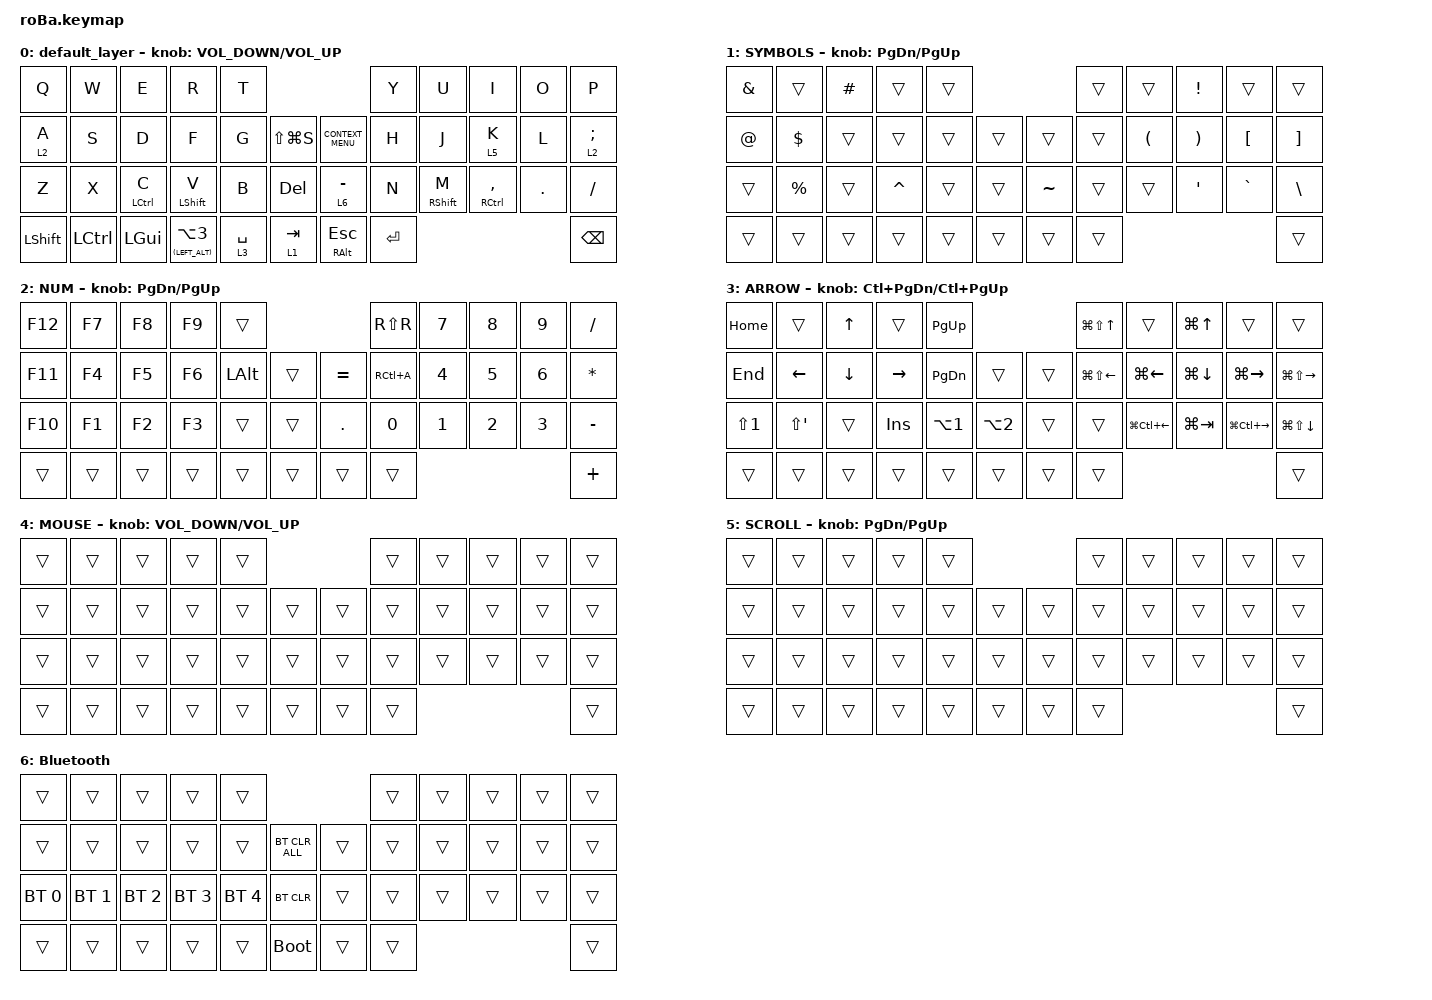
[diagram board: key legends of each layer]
// #include <behaviors/rgbled_widget.dtsi>

#include <behaviors.dtsi>
#include <dt-bindings/zmk/bt.h>
#include <dt-bindings/zmk/keys.h>
#include <dt-bindings/zmk/pointing.h>

&mt {
    flavor = "balanced";
    quick-tap-ms = <0>;
};

&trackball {
    // automouse-layer = <4>;

    scroll-layers = <5>;

    // arrows {
    //     layers = <3>;
    //     bindings =
    //         <&kp RIGHT_ARROW>,
    //         <&kp LEFT_ARROW>,
    //         <&kp UP_ARROW>,
    //         <&kp DOWN_ARROW>;
    //     tick = <10>;
    //     wait-ms = <5>;
    //     tap-ms = <5>;
    // };
};

/ {
    combos {
        compatible = "zmk,combos";

        CapsLock {
            bindings = <&kp LS(CAPSLOCK)>;
            key-positions = <10 21>;
        };

        IME_ON {
            bindings = <&kp INT_HENKAN>;
            key-positions = <30 31>;
        };

        IME_OFF {
            bindings = <&kp INT_MUHENKAN>;
            key-positions = <24 25>;
        };

        PrintScreen {
            bindings = <&kp PRINTSCREEN>;
            key-positions = <6 7>;
        };

        left_click {
            bindings = <&mkp MB1>;
            key-positions = <18 19>;
        };

        right_click {
            bindings = <&mkp MB2>;
            key-positions = <19 20>;
        };

        middle_click {
            bindings = <&mkp MB3>;
            key-positions = <18 19 20>;
        };

        mouse_click_5 {
            bindings = <&mkp MB5>;
            key-positions = <17 18>;
        };

        mouse_click_4 {
            bindings = <&mkp MB4>;
            key-positions = <29 30>;
        };

        View_Depth_1000 {
            bindings = <&View_Depth_1000>;
            key-positions = <1 12 25>;
        };

        PDF_DOCU {
            bindings = <&PDF_DOCU>;
            key-positions = <9 13 12 8>;
        };

        DOCU_SerialNum {
            bindings = <&DOCU_SerialNum>;
            key-positions = <12 24 8 6>;
        };

        ISO_A {
            bindings = <&ISO_A>;
            key-positions = <7 8 10 11>;
        };

        ISO_B {
            bindings = <&ISO_B>;
            key-positions = <7 8 11 26>;
        };

        ISO_C {
            bindings = <&ISO_C>;
            key-positions = <7 8 11 24>;
        };

        ISO_D {
            bindings = <&ISO_D>;
            key-positions = <7 8 11 12>;
        };

        ISO_P {
            bindings = <&ISO_P>;
            key-positions = <7 8 9 11>;
        };

        ISO_S {
            bindings = <&ISO_S>;
            key-positions = <7 8 11 23>;
        };

        PASS {
            bindings = <&PASS>;
            key-positions = <9 10 11 1>;
        };
    };

    macros {
        to_layer_0: to_layer_0 {
            compatible = "zmk,behavior-macro-one-param";
            #binding-cells = <1>;
            bindings = <&to 0 &macro_param_1to1 &kp MACRO_PLACEHOLDER>;
            label = "TO_LAYER_0";
        };

        View_Depth_1000: View_Depth_1000 {
            compatible = "zmk,behavior-macro";
            #binding-cells = <0>;
            bindings =
                <&kp LS(TAB) &kp LS(TAB) &kp LS(TAB) &kp LS(TAB) &kp LS(TAB) &kp LS(TAB) &kp LS(TAB) &kp LS(TAB) &kp LS(TAB) &kp LS(TAB) &kp LS(TAB) &kp LS(TAB) &kp LS(TAB) &kp LS(TAB) &kp LS(TAB) &kp LS(TAB) &kp NUMBER_1>,
                <&macro_wait_time 100>,
                <&kp ENTER &kp N0 &kp N0 &kp N0 &kp HOME>;

            label = "VIEW_DEPTH_1000";
        };

        PDF_DOCU: PDF_DOCU {
            compatible = "zmk,behavior-macro";
            #binding-cells = <0>;
            bindings = <&kp TAB &kp TAB &kp TAB &kp DOWN_ARROW &kp TAB &kp TAB &kp TAB &kp TAB &kp TAB &kp TAB &kp TAB &kp TAB &kp SPACE &kp LS(TAB) &kp LS(TAB) &kp NUMBER_1 &kp NUMBER_3 &kp TAB &kp NUMBER_1 &kp NUMBER_3 &kp ENTER &kp TAB &kp TAB &kp ENTER>;
            label = "PDF_DOCU";
        };

        DOCU_SerialNum: DOCU_SerialNum {
            compatible = "zmk,behavior-macro";
            #binding-cells = <0>;
            bindings =
                <&macro_wait_time 700>,
                <&kp LA(D) &kp S>,
                <&macro_wait_time 30>,
                <&kp LC(TAB) &kp LC(TAB) &kp LC(TAB) &kp LC(TAB) &kp LS(N) &kp O &kp DOT &kp POUND &kp TAB &kp TAB &kp UP_ARROW &kp TAB &kp N1 &kp N7 &kp TAB &kp DOWN_ARROW &kp LS(TAB) &kp N2 &kp N6 &kp ENTER &kp ENTER &kp LC(S)>;

            label = "DOCU_SERIALNUM";
        };

        ISO_A: ISO_A {
            compatible = "zmk,behavior-macro";
            #binding-cells = <0>;
            bindings = <&kp TAB &kp TAB &kp TAB &kp TAB &kp SPACE &kp UP_ARROW &kp UP_ARROW &kp UP_ARROW &kp ENTER &kp LS(A) &kp UNDER &kp END &kp BACKSPACE>;
            label = "ISO_A";
        };

        ISO_B: ISO_B {
            compatible = "zmk,behavior-macro";
            #binding-cells = <0>;
            bindings = <&kp TAB &kp TAB &kp TAB &kp TAB &kp SPACE &kp UP_ARROW &kp UP_ARROW &kp UP_ARROW &kp ENTER &kp LS(B) &kp UNDER &kp END &kp BACKSPACE>;
            label = "ISO_B";
        };

        ISO_C: ISO_C {
            compatible = "zmk,behavior-macro";
            #binding-cells = <0>;
            bindings = <&kp TAB &kp TAB &kp TAB &kp TAB &kp SPACE &kp UP_ARROW &kp UP_ARROW &kp UP_ARROW &kp ENTER &kp LS(C) &kp UNDER &kp END &kp BACKSPACE>;
            label = "ISO_C";
        };

        ISO_D: ISO_D {
            compatible = "zmk,behavior-macro";
            #binding-cells = <0>;
            bindings = <&kp TAB &kp TAB &kp TAB &kp TAB &kp SPACE &kp UP_ARROW &kp UP_ARROW &kp UP_ARROW &kp ENTER &kp LS(D) &kp UNDER &kp END &kp BACKSPACE>;
            label = "ISO_D";
        };

        ISO_P: ISO_P {
            compatible = "zmk,behavior-macro";
            #binding-cells = <0>;
            bindings = <&kp TAB &kp TAB &kp TAB &kp TAB &kp SPACE &kp UP_ARROW &kp UP_ARROW &kp UP_ARROW &kp ENTER &kp LS(P) &kp UNDER &kp END &kp BACKSPACE>;
            label = "ISO_P";
        };

        ISO_S: ISO_S {
            compatible = "zmk,behavior-macro";
            #binding-cells = <0>;
            bindings = <&kp TAB &kp TAB &kp TAB &kp TAB &kp SPACE &kp UP_ARROW &kp UP_ARROW &kp UP_ARROW &kp ENTER &kp LS(S) &kp UNDER &kp END &kp BACKSPACE>;
            label = "ISO_S";
        };

        PASS: PASS {
            compatible = "zmk,behavior-macro";
            #binding-cells = <0>;
            bindings = <&kp LS(H) &kp N1 &kp LS(C) &kp A &kp D &kp M &kp A &kp T &kp I &kp C &kp LS(SEMICOLON) &kp LS(P) &kp LS(N) &kp N2>;
            label = "PASS";
        };
    };

    behaviors {
        lt_to_layer_0: lt_to_layer_0 {
            compatible = "zmk,behavior-hold-tap";
            label = "LAYER_TAP_TO_0";
            bindings = <&mo>, <&to_layer_0>;

            #binding-cells = <2>;
            tapping-term-ms = <200>;
        };
    };

    keymap {
        compatible = "zmk,keymap";

        default_layer {
            bindings = <
&kp Q           &kp W      &kp E         &kp R                        &kp T                                                 &kp Y      &kp U              &kp I            &kp O    &kp P
&lt 2 A         &kp S      &kp D         &kp F                        &kp G        &kp LS(LG(S))      &kp K_CONTEXT_MENU    &kp H      &kp J              &lt 5 K          &kp L    &lt 2 SEMICOLON
&kp Z           &kp X      &mt LCTRL C   &mt LEFT_SHIFT V             &kp B        &kp DELETE         &lt 6 MINUS           &kp N      &mt RIGHT_SHIFT M  &mt RCTRL COMMA  &kp DOT  &kp SLASH
&kp LEFT_SHIFT  &kp LCTRL  &kp LEFT_GUI  &mt (LEFT_ALT) LA(NUMBER_3)  &lt 3 SPACE  &lt 1 TAB          &mt RIGHT_ALT ESCAPE  &kp ENTER                                               &kp BACKSPACE
            >;

            sensor-bindings = <&inc_dec_kp C_VOLUME_DOWN C_VOLUME_UP>;
        };

        SYMBOLS {
            bindings = <
&kp AMPERSAND  &trans       &kp HASH  &trans     &trans                         &trans  &trans                &kp EXCLAMATION        &trans            &trans
&kp AT_SIGN    &kp DOLLAR   &trans    &trans     &trans  &trans      &trans     &trans  &kp LEFT_PARENTHESIS  &kp RIGHT_PARENTHESIS  &kp LEFT_BRACKET  &kp RIGHT_BRACKET
&trans         &kp PERCENT  &trans    &kp CARET  &trans  &trans      &kp TILDE  &trans  &trans                &kp SQT                &kp GRAVE         &kp BACKSLASH
&trans         &trans       &trans    &trans     &trans  &trans      &trans     &trans                                                                 &trans
            >;

            sensor-bindings = <&inc_dec_kp PAGE_DOWN PAGE_UP>;
        };

        NUM {
            bindings = <
&kp F12  &kp F7  &kp F8  &kp F9  &trans                                &kp RS(R)     &kp NUMBER_7  &kp NUMBER_8  &kp NUMBER_9  &kp SLASH
&kp F11  &kp F4  &kp F5  &kp F6  &kp LEFT_ALT  &trans      &kp EQUAL   &kp RC(A)     &kp NUMBER_4  &kp N5        &kp NUMBER_6  &kp ASTERISK
&kp F10  &kp F1  &kp F2  &kp F3  &trans        &trans      &kp PERIOD  &kp NUMBER_0  &kp NUMBER_1  &kp NUMBER_2  &kp NUMBER_3  &kp MINUS
&trans   &trans  &trans  &trans  &trans        &trans      &trans      &trans                                                  &kp PLUS
            >;

            sensor-bindings = <&inc_dec_kp PAGE_DOWN PAGE_UP>;
        };

        ARROW {
            bindings = <
&kp HOME          &trans          &kp UP_ARROW    &trans           &kp PAGE_UP                                     &kp LG(LS(UP_ARROW))    &trans                  &kp LG(UP_ARROW)    &trans                   &trans
&kp END           &kp LEFT_ARROW  &kp DOWN_ARROW  &kp RIGHT_ARROW  &kp PAGE_DOWN     &trans                &trans  &kp LG(LS(LEFT_ARROW))  &kp LG(LEFT_ARROW)      &kp LG(DOWN_ARROW)  &kp LG(RIGHT_ARROW)      &kp LG(LS(RIGHT_ARROW))
&kp LS(NUMBER_1)  &kp LS(SQT)     &trans          &kp INSERT       &kp LA(NUMBER_1)  &kp LA(NUMBER_2)      &trans  &trans                  &kp LG(LC(LEFT_ARROW))  &kp LG(TAB)         &kp LG(LC(RIGHT_ARROW))  &kp LG(LS(DOWN_ARROW))
&trans            &trans          &trans          &trans           &trans            &trans                &trans  &trans                                                                                       &trans
            >;

            sensor-bindings = <&inc_dec_kp LC(PAGE_DOWN) LC(PAGE_UP)>;
        };

        MOUSE {
            bindings = <
&trans  &trans  &trans  &trans  &trans                      &trans  &trans  &trans  &trans  &trans
&trans  &trans  &trans  &trans  &trans  &trans      &trans  &trans  &trans  &trans  &trans  &trans
&trans  &trans  &trans  &trans  &trans  &trans      &trans  &trans  &trans  &trans  &trans  &trans
&trans  &trans  &trans  &trans  &trans  &trans      &trans  &trans                          &trans
            >;

            sensor-bindings = <&inc_dec_kp C_VOLUME_DOWN C_VOLUME_UP>;
        };

        SCROLL {
            bindings = <
&trans  &trans  &trans  &trans  &trans                      &trans  &trans  &trans  &trans  &trans
&trans  &trans  &trans  &trans  &trans  &trans      &trans  &trans  &trans  &trans  &trans  &trans
&trans  &trans  &trans  &trans  &trans  &trans      &trans  &trans  &trans  &trans  &trans  &trans
&trans  &trans  &trans  &trans  &trans  &trans      &trans  &trans                          &trans
            >;

            sensor-bindings = <&inc_dec_kp PAGE_DOWN PAGE_UP>;
        };

        Bluetooth {
            bindings = <
&trans        &trans        &trans        &trans        &trans                                    &trans  &trans  &trans  &trans  &trans
&trans        &trans        &trans        &trans        &trans        &bt BT_CLR_ALL      &trans  &trans  &trans  &trans  &trans  &trans
&bt BT_SEL 0  &bt BT_SEL 1  &bt BT_SEL 2  &bt BT_SEL 3  &bt BT_SEL 4  &bt BT_CLR          &trans  &trans  &trans  &trans  &trans  &trans
&trans        &trans        &trans        &trans        &trans        &bootloader         &trans  &trans                          &trans
            >;
        };
    };
};
